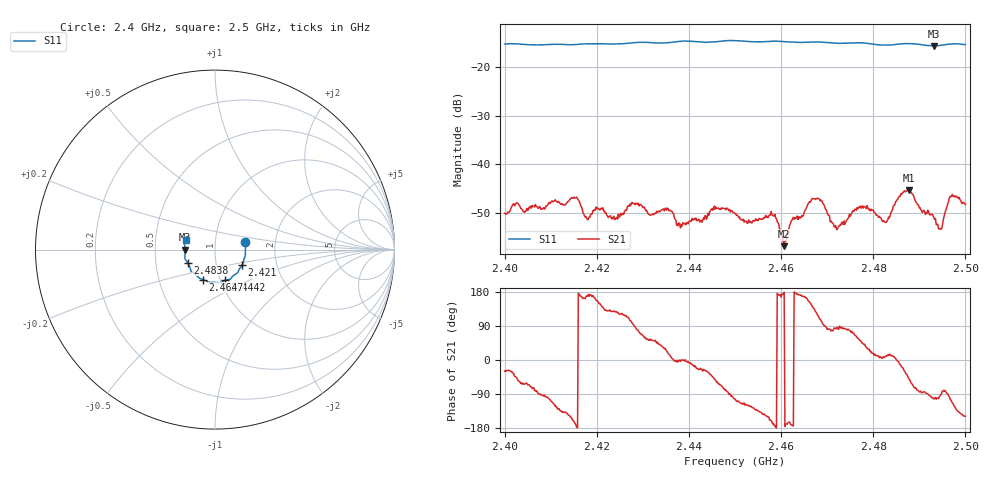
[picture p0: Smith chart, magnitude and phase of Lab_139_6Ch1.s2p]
# Hz S RI R 50
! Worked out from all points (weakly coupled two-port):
!   601 points, 2.4 GHz to 2.5 GHz, reference 50 ohm
!   highest |S21| = -45.35 dB at 2.4877 GHz (marker M1); lowest = -56.9 dB at 2.4607 GHz (marker M2)
!   lowest |S11| = -15.6 dB at 2.4932 GHz (marker M3), VSWR 1.40, Z = 35.8 - j0.0852 ohm
!   |S11| at or under -10 dB: start of sweep to end of sweep
!   S12 and S22 are empty: the file has one direction only
!   S11 on the Smith chart (normalised r, x): 2.4 GHz: 1.40, +0.12; 2.421 GHz: 1.33, -0.24; 2.4442 GHz: 1.05, -0.37; 2.4647 GHz: 0.83, -0.29; 2.4838 GHz: 0.73, -0.11; 2.5 GHz: 0.72, +0.08
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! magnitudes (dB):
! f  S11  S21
! 2.4 GHz  -15.2  -50.1
! 2.4152 GHz  -15.4  -47.0
! 2.4167 GHz  -15.2  -48.8
! 2.418 GHz  -15.2  -51.5
! 2.421 GHz  -15.2  -49.1
! 2.4333 GHz  -15.0  -49.7
! 2.438 GHz  -14.7  -52.2
! 2.4442 GHz  -14.9  -50.1
! 2.45 GHz  -14.5  -50.2
! 2.4583 GHz  -14.7  -50.6
! 2.4607 GHz  -14.7  -56.9
! 2.4647 GHz  -14.9  -50.7
! 2.4667 GHz  -14.8  -47.2
! 2.472 GHz  -15.1  -53.3
! 2.4772 GHz  -15.0  -48.6
! 2.4833 GHz  -15.5  -50.9
! 2.4838 GHz  -15.4  -50.1
! 2.4877 GHz  -15.2  -45.4
! 2.4932 GHz  -15.6  -51.1
! 2.4947 GHz  -15.5  -53.3
! 2.497 GHz  -15.2  -46.6
! 2.5 GHz  -15.3  -48.3
